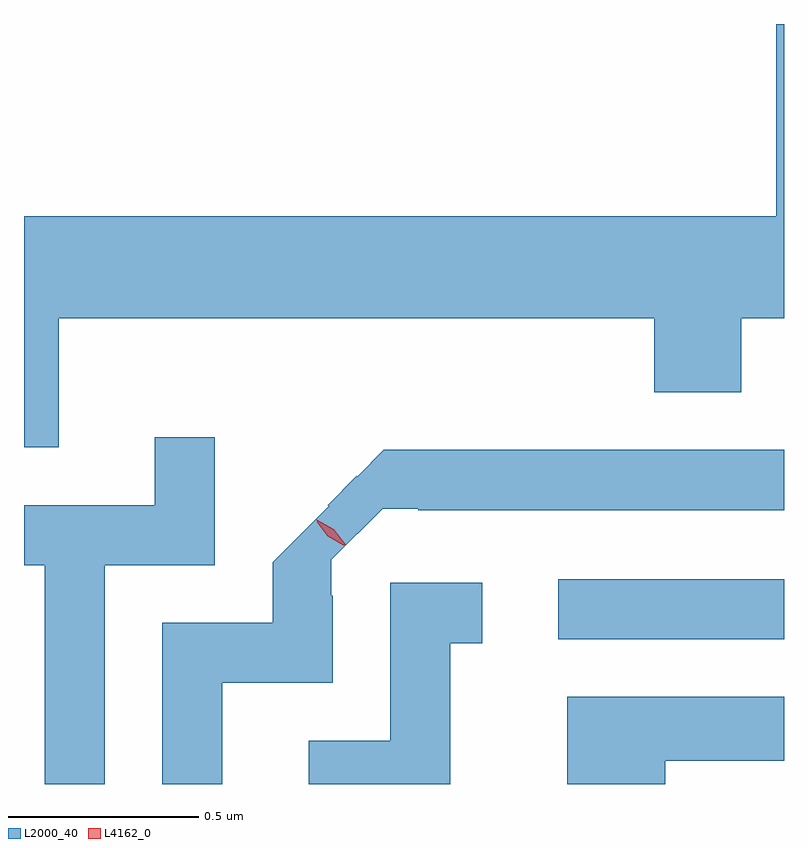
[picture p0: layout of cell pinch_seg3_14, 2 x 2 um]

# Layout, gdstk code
import gdstk
lib = gdstk.Library(unit=1e-6, precision=1e-09)
def R(c, l, rs):  # rectangles x0, y0, x1, y1
    for r in rs: c.add(gdstk.rectangle(r[:2], r[2:], *l))
def P(c, l, *ps):  # polygons
    for p in ps: c.add(gdstk.Polygon(p, *l))
L2000_40 = (2000, 40)
L4162_0 = (4162, 0)

pinch_seg3_14 = lib.new_cell('pinch_seg3_14')
R(pinch_seg3_14, L2000_40, [(833.883,1189.551,834.477,1189.709)])
P(pinch_seg3_14, L2000_40, [(832.569,1190.396),(834.136,1190.396),(834.136,1190.201),(834.364,1190.201),(834.364,1190.396),(834.477,1190.396),(834.477,1191.17),(834.456,1191.17),(834.456,1190.664),(832.477,1190.664),(832.477,1190.056),(832.569,1190.056)],
  [(832.689,1189.746),(832.979,1189.746),(832.979,1190.083),(832.821,1190.083),(832.821,1189.904),(832.477,1189.904),(832.477,1189.746),(832.531,1189.746),(832.531,1189.17),(832.689,1189.17)],
  [(832.999,1189.436),(833.289,1189.436),(833.289,1189.665),(833.285,1189.665),(833.285,1189.76),(833.421,1189.895),(833.515,1189.895),(833.515,1189.891),(834.477,1189.891),(834.477,1190.049),(833.424,1190.049),(833.354,1189.979),(833.352,1189.981),(833.276,1189.904),(833.279,1189.901),(833.131,1189.753),(833.131,1189.594),(832.841,1189.594),(832.841,1189.17),(832.999,1189.17)],
  [(833.599,1189.541),(833.683,1189.541),(833.683,1189.699),(833.441,1189.699),(833.441,1189.284),(833.226,1189.284),(833.226,1189.17),(833.599,1189.17)],
  [(834.164,1189.231),(834.477,1189.231),(834.477,1189.399),(833.906,1189.399),(833.906,1189.17),(834.164,1189.17)])
P(pinch_seg3_14, L4162_0, [(833.323,1189.798),(833.279,1189.825),(833.246,1189.866),(833.246,1189.866),(833.247,1189.866),(833.292,1189.84),(833.324,1189.799),(833.324,1189.798)],
  [(833.317,1189.798),(833.276,1189.822),(833.248,1189.86),(833.248,1189.86),(833.248,1189.86),(833.289,1189.837),(833.318,1189.799),(833.318,1189.798)])

lib.write_gds('pinch_seg3_14.gds')
